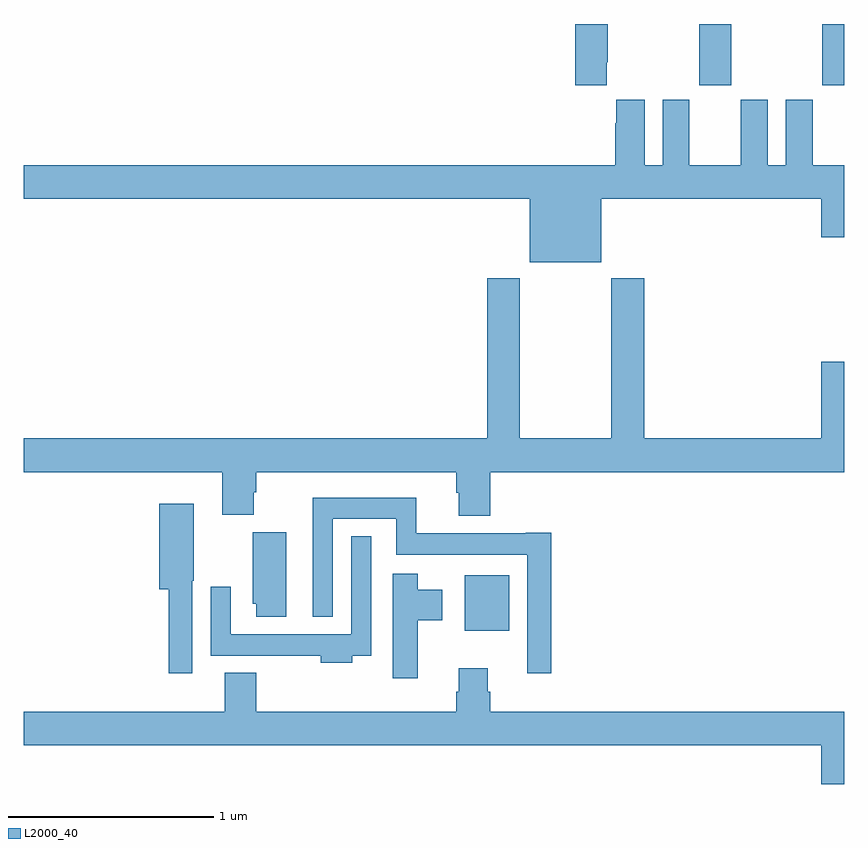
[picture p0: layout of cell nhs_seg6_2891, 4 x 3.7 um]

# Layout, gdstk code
import gdstk
lib = gdstk.Library(unit=1e-6, precision=1e-09)
def R(c, l, rs):  # rectangles x0, y0, x1, y1
    for r in rs: c.add(gdstk.rectangle(r[:2], r[2:], *l))
def P(c, l, *ps):  # polygons
    for p in ps: c.add(gdstk.Polygon(p, *l))
L2000_40 = (2000, 40)

nhs_seg6_2891 = lib.new_cell('nhs_seg6_2891')
R(nhs_seg6_2891, L2000_40, [(283.151,966.542,283.366,966.814), (284.293,969.201,284.448,969.5), (284.893,969.201,285,969.5)])
P(nhs_seg6_2891, L2000_40, [(283.843,969.313),(283.848,969.313),(283.848,969.5),(283.688,969.5),(283.688,969.201),(283.843,969.201)],
  [(283.816,968.648),(284.888,968.648),(284.888,968.46),(285,968.46),(285,968.812),(284.845,968.812),(284.845,969.13),(284.714,969.13),(284.714,968.812),(284.626,968.812),(284.626,969.13),(284.495,969.13),(284.495,968.812),(284.245,968.812),(284.245,969.13),(284.114,969.13),(284.114,968.812),(284.026,968.812),(284.026,969.13),(283.889,969.13),(283.889,969.017),(283.883,969.017),(283.883,968.812),(281,968.812),(281,968.648),(283.466,968.648),(283.466,968.339),(283.816,968.339)],
  [(283.274,967.316),(285,967.316),(285,967.855),(284.888,967.855),(284.888,967.48),(284.024,967.48),(284.024,968.26),(283.864,968.26),(283.864,967.48),(283.419,967.48),(283.419,968.26),(283.259,968.26),(283.259,967.48),(281,967.48),(281,967.316),(281.969,967.316),(281.969,967.108),(282.121,967.108),(282.121,967.217),(282.134,967.217),(282.134,967.316),(283.109,967.316),(283.109,967.215),(283.121,967.215),(283.121,967.103),(283.274,967.103)],
  [(283.571,967.021),(283.448,967.021),(283.448,967.018),(282.914,967.018),(282.914,967.192),(282.41,967.192),(282.41,966.611),(282.507,966.611),(282.507,967.088),(282.816,967.088),(282.816,966.914),(283.455,966.914),(283.455,966.336),(283.571,966.336)],
  [(281.823,966.786),(281.83,966.786),(281.83,967.162),(281.66,967.162),(281.66,966.746),(281.707,966.746),(281.707,966.336),(281.823,966.336)],
  [(282.28,967.023),(282.116,967.023),(282.116,966.675),(282.134,966.675),(282.134,966.612),(282.28,966.612)],
  [(282.601,966.42),(282.693,966.42),(282.693,967.003),(282.597,967.003),(282.597,966.526),(282.009,966.526),(282.009,966.757),(281.913,966.757),(281.913,966.422),(282.217,966.422),(282.217,966.42),(282.449,966.42),(282.449,966.386),(282.601,966.386)],
  [(282.922,966.595),(283.039,966.595),(283.039,966.742),(282.922,966.742),(282.922,966.82),(282.8,966.82),(282.8,966.312),(282.922,966.312)],
  [(285,966.148),(283.274,966.148),(283.274,966.246),(283.261,966.246),(283.261,966.361),(283.121,966.361),(283.121,966.246),(283.109,966.246),(283.109,966.148),(282.134,966.148),(282.134,966.337),(281.981,966.337),(281.981,966.148),(281,966.148),(281,965.984),(284.888,965.984),(284.888,965.796),(285,965.796)])

lib.write_gds('nhs_seg6_2891.gds')
